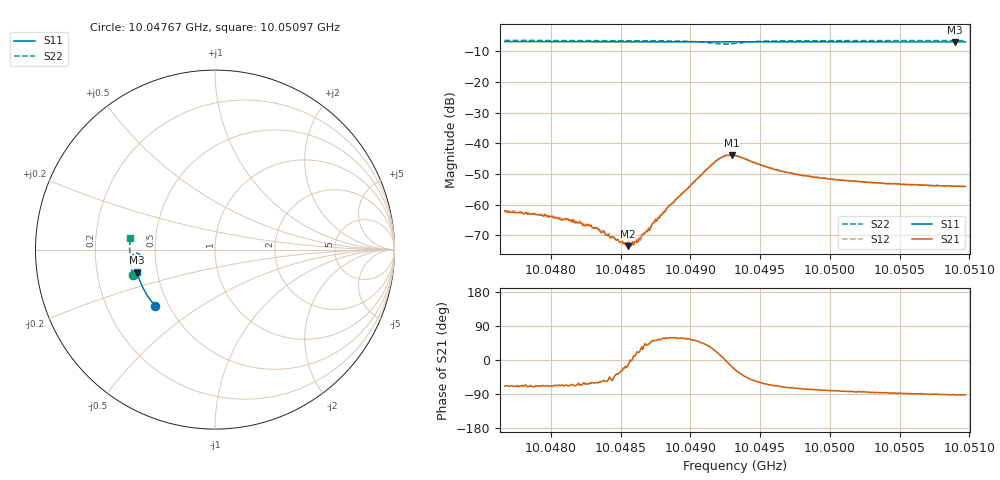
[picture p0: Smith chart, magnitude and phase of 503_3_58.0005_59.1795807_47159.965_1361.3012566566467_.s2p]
#  HZ  S  RI  R  50.00
! Rohde & Schwarz Vector Network Analyzer
! Rohde-Schwarz,ZNB20-2Port,1311601062101988,3.16
! Created: UTC 3/21/2024, 1:12:53 AM
! freq[Hz]  re:S11  im:S11  re:S21  im:S21  re:S12  im:S12  re:S22  im:S22
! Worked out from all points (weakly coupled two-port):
!   401 points, 10.04767 GHz to 10.05097 GHz, reference 50 ohm
!   highest |S21| = -43.83 dB at 10.0493 GHz (marker M1); lowest = -73.6 dB at 10.04855 GHz (marker M2)
!   lowest |S11| = -6.9 dB at 10.0509 GHz (marker M3), VSWR 2.65, Z = 19.2 - j6.16 ohm
!   |S11| at or under -10 dB: nowhere
!   |S22| runs from -7.6 to -6.4 dB; largest |S21 - S12| = 0.00048
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1.0047668e10  -0.3345 -0.3128  0.000282 -0.000738  0.000337 -0.000724  -0.4578 -0.1396
1.0047957e10  -0.3467 -0.298  0.000254 -0.000648  0.000301 -0.000595  -0.4625 -0.1202
1.0048073e10  -0.3515 -0.2921  0.000224 -0.000518  0.000291 -0.000526  -0.4641 -0.1121
1.0048122e10  -0.3535 -0.2896  0.000213 -0.000529  0.000275 -0.000524  -0.4648 -0.1087
1.0048221e10  -0.3574 -0.2844  0.000193 -0.000446  0.000233 -0.000437  -0.4663 -0.1015
1.0048271e10  -0.3595 -0.2816  0.000205 -0.000411  0.000231 -0.000385  -0.4667 -0.098
1.0048378e10  -0.3636 -0.276  0.000216 -0.000293  0.000224 -0.00027  -0.4679 -0.09
1.0048477e10  -0.3674 -0.2705  0.000213 -0.000166  0.000217 -0.000161  -0.4686 -0.0825
1.0048552e10  -0.3701 -0.2665  0.000203 -4.88e-05  0.00022 -2.91e-05  -0.4691 -0.0764
1.0048585e10  -0.3713 -0.2649  0.000251 9.68e-06  0.000235 2.63e-05  -0.4693 -0.0737
1.0048634e10  -0.3731 -0.262  0.000257 9.73e-05  0.000259 0.0001  -0.4692 -0.0696
1.0048775e10  -0.3781 -0.2543  0.000341 0.000488  0.000336 0.000537  -0.4687 -0.057
1.0048849e10  -0.3807 -0.2499  0.0005 0.000824  0.000456 0.000828  -0.4676 -0.0495
1.0049171e10  -0.3911 -0.2317  0.00436 0.00217  0.00424 0.00243  -0.4301 -0.0209
1.0049238e10  -0.393 -0.228  0.00609 0.000512  0.00607 0.000902  -0.416 -0.0353
1.0049295e10  -0.3946 -0.2248  0.00616 -0.00186  0.00629 -0.00148  -0.4187 -0.0542
1.004932e10  -0.3954 -0.2235  0.0057 -0.00269  0.0059 -0.0023  -0.4241 -0.06
1.0049593e10  -0.404 -0.2078  0.00149 -0.00351  0.00173 -0.00347  -0.4668 -0.0444
1.0049874e10  -0.4118 -0.1909  0.000606 -0.00277  0.000756 -0.00276  -0.4742 -0.0176
1.0050427e10  -0.4249 -0.1572  9.71e-05 -0.00218  0.000269 -0.00221  -0.4754 0.0248
1.0050898e10  -0.4338 -0.1277  -6.8e-05 -0.002  6.11e-05 -0.00196  -0.4725 0.0574
1.0050972e10  -0.4352 -0.1229  -9.02e-05 -0.00197  3.25e-05 -0.00198  -0.4719 0.0623
